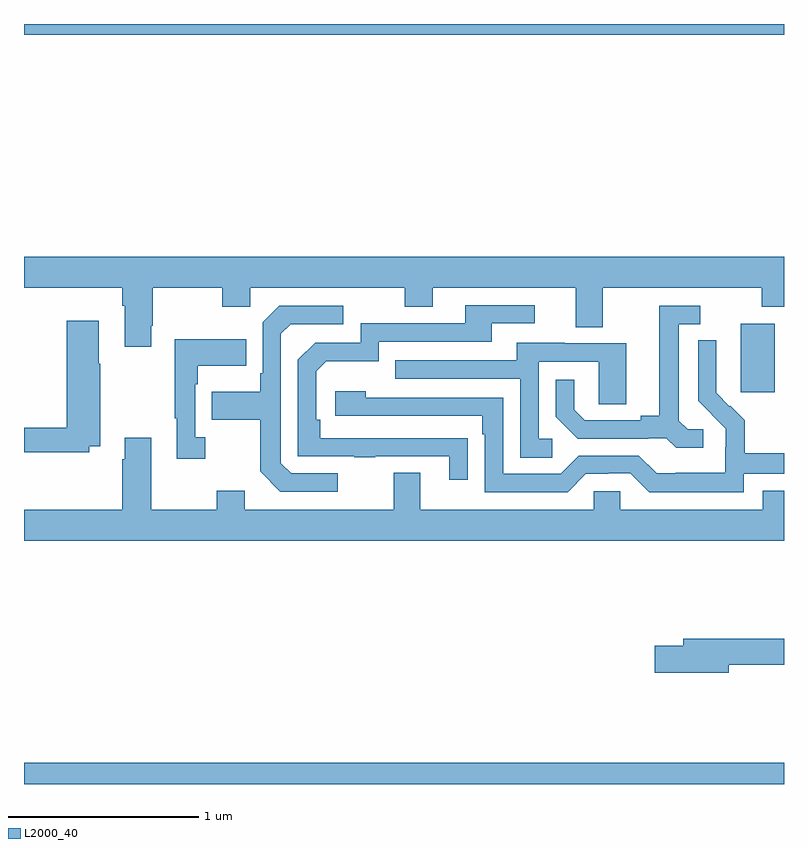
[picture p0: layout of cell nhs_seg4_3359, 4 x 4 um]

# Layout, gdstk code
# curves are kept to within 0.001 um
import gdstk
lib = gdstk.Library(unit=1e-6, precision=1e-09)
def R(c, l, rs):  # rectangles x0, y0, x1, y1
    for r in rs: c.add(gdstk.rectangle(r[:2], r[2:], *l))
def P(c, l, *ps):  # polygons
    for p in ps: c.add(gdstk.Polygon(p, *l))
L2000_40 = (2000, 40)

nhs_seg4_3359 = lib.new_cell('nhs_seg4_3359')
R(nhs_seg4_3359, L2000_40, [(289,768.9,293,769.012), (292.772,770.961,292.951,771.322), (289,772.844,293,772.9)])
P(nhs_seg4_3359, L2000_40, [(289,771.512),(289.517,771.512),(289.517,771.416),(289.529,771.416),(289.529,771.201),(289.669,771.201),(289.669,771.313),(289.677,771.313),(289.677,771.512),(290.044,771.512),(290.044,771.413),(290.19,771.413),(290.19,771.512),(291.004,771.512),(291.004,771.413),(291.151,771.413),(291.151,771.512),(291.905,771.512),(291.905,771.304),(292.045,771.304),(292.045,771.512),(292.882,771.512),(292.882,771.413),(293,771.413),(293,771.676),(289,771.676)],
  [(291.335,770.72),(290.558,770.721),(290.558,770.818),(290.538,770.818),(290.538,771.072),(290.591,771.125),(290.868,771.125),(290.868,771.228),(291.463,771.228),(291.463,771.324),(291.688,771.324),(291.688,771.42),(291.323,771.42),(291.323,771.324),(290.772,771.324),(290.772,771.222),(290.532,771.222),(290.442,771.132),(290.442,770.625),(290.737,770.625),(290.737,770.62),(290.849,770.62),(290.849,770.625),(291.239,770.625),(291.239,770.502),(291.335,770.502)],
  [(292.576,770.766),(292.494,770.766),(292.447,770.813),(292.447,771.321),(292.558,771.321),(292.558,771.417),(292.343,771.417),(292.343,770.837),(292.247,770.837),(292.247,770.814),(291.952,770.814),(291.895,770.871),(291.895,771.028),(291.798,771.028),(291.798,770.834),(291.914,770.718),(292.286,770.718),(292.286,770.721),(292.38,770.721),(292.432,770.669),(292.576,770.669)],
  [(290.65,770.535),(290.406,770.535),(290.352,770.589),(290.352,771.27),(290.403,771.321),(290.68,771.321),(290.68,771.417),(290.343,771.417),(290.256,771.33),(290.256,771.061),(290.244,771.061),(290.244,770.965),(289.987,770.965),(289.987,770.818),(290.244,770.818),(290.244,770.545),(290.349,770.439),(290.65,770.439)],
  [(289.344,770.678),(289.401,770.678),(289.401,771.113),(289.393,771.113),(289.393,771.337),(289.226,771.337),(289.226,770.774),(289,770.774),(289,770.646),(289.344,770.646)],
  [(289.954,770.726),(289.902,770.726),(289.902,771.005),(289.915,771.005),(289.915,771.101),(290.171,771.101),(290.171,771.241),(289.794,771.241),(289.794,770.825),(289.805,770.825),(289.805,770.613),(289.954,770.613)],
  [(292.788,770.532),(293,770.532),(293,770.641),(292.793,770.641),(292.793,770.815),(292.716,770.892),(292.713,770.889),(292.643,770.96),(292.644,771.236),(292.548,771.236),(292.548,770.918),(292.694,770.77),(292.694,770.673),(292.692,770.673),(292.692,770.539),(292.429,770.539),(292.429,770.535),(292.329,770.535),(292.236,770.628),(291.921,770.628),(291.825,770.532),(291.522,770.532),(291.522,770.934),(290.798,770.934),(290.798,770.968),(290.637,770.968),(290.637,770.838),(291.413,770.838),(291.413,770.741),(291.426,770.741),(291.426,770.436),(291.861,770.436),(291.957,770.532),(292.076,770.532),(292.076,770.535),(292.191,770.535),(292.291,770.435),(292.788,770.435)],
  [(291.781,770.718),(291.708,770.718),(291.708,771.123),(292.026,771.123),(292.026,770.899),(292.171,770.899),(292.171,771.219),(291.847,771.219),(291.847,771.223),(291.593,771.223),(291.593,771.129),(290.953,771.129),(290.953,771.033),(291.612,771.033),(291.612,770.617),(291.781,770.617)],
  [(293,770.443),(292.889,770.443),(292.889,770.344),(292.137,770.344),(292.137,770.442),(291.999,770.442),(291.999,770.344),(291.085,770.344),(291.085,770.539),(290.945,770.539),(290.945,770.344),(290.161,770.344),(290.161,770.443),(290.014,770.443),(290.014,770.344),(289.669,770.344),(289.669,770.722),(289.529,770.722),(289.529,770.609),(289.517,770.609),(289.517,770.344),(289,770.344),(289,770.18),(293,770.18)],
  [(292.708,769.528),(293,769.528),(293,769.664),(292.469,769.664),(292.469,769.628),(292.32,769.628),(292.32,769.486),(292.708,769.486)])

lib.write_gds('nhs_seg4_3359.gds')
